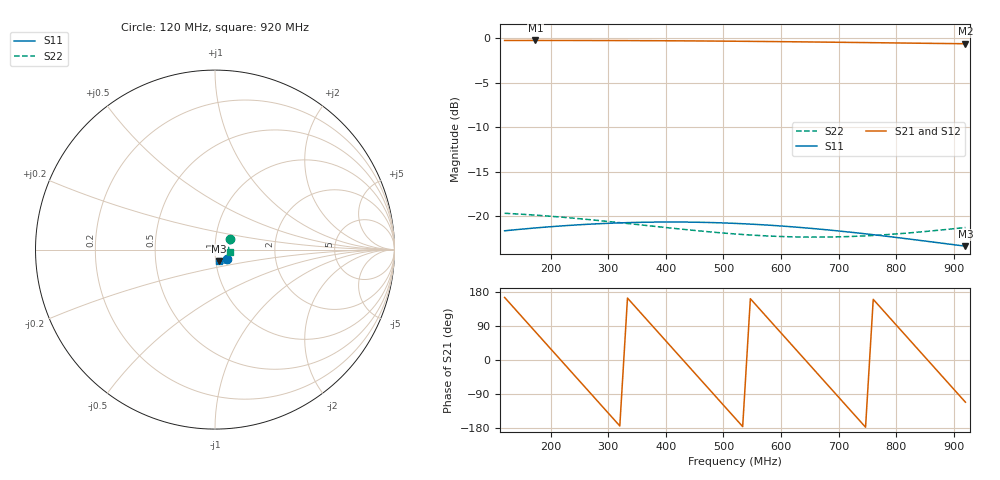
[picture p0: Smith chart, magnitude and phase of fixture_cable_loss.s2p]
! Generated RF sample for VNA Touchstone diagnostics
! Source: local sample generator
# MHZ S DB R 50
! freq S11 S12 S21 S22
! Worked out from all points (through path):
!   61 points, 120 MHz to 920 MHz, reference 50 ohm
!   highest |S21| = -0.23 dB at 173.3 MHz (marker M1); lowest = -0.6 dB at 920 MHz (marker M2)
!   group delay of S21, straight-line fit = 4.71 ns
!   lowest |S11| = -23.3 dB at 920 MHz (marker M3), VSWR 1.15, Z = 51.9 - j6.69 ohm
!   |S11| at or under -10 dB: start of sweep to end of sweep
!   |S22| runs from -22.3 to -19.6 dB; largest |S21 - S12| = 0.026
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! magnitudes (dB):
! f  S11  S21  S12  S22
! 120 MHz  -21.6  -0.2  -0.2  -19.6
! 173.3 MHz  -21.3  -0.2  -0.2  -19.9
! 226.7 MHz  -21.0  -0.2  -0.2  -20.1
! 266.7 MHz  -20.9  -0.2  -0.2  -20.4
! 306.7 MHz  -20.8  -0.2  -0.2  -20.6
! 333.3 MHz  -20.7  -0.2  -0.2  -20.8
! 386.7 MHz  -20.6  -0.3  -0.2  -21.2
! 413.3 MHz  -20.6  -0.3  -0.2  -21.3
! 453.3 MHz  -20.7  -0.3  -0.3  -21.6
! 480 MHz  -20.7  -0.3  -0.3  -21.8
! 520 MHz  -20.8  -0.3  -0.3  -22.0
! 560 MHz  -20.9  -0.3  -0.3  -22.1
! 600 MHz  -21.1  -0.4  -0.4  -22.3
! 640 MHz  -21.3  -0.4  -0.4  -22.3
! 666.7 MHz  -21.4  -0.4  -0.4  -22.3
! 693.3 MHz  -21.6  -0.4  -0.4  -22.3
! 720 MHz  -21.8  -0.5  -0.5  -22.3
! 746.7 MHz  -22.0  -0.5  -0.5  -22.2
! 786.7 MHz  -22.3  -0.5  -0.5  -22.0
! 840 MHz  -22.7  -0.5  -0.6  -21.8
! 880 MHz  -23.0  -0.6  -0.6  -21.5
! 920 MHz  -23.3  -0.6  -0.6  -21.2
